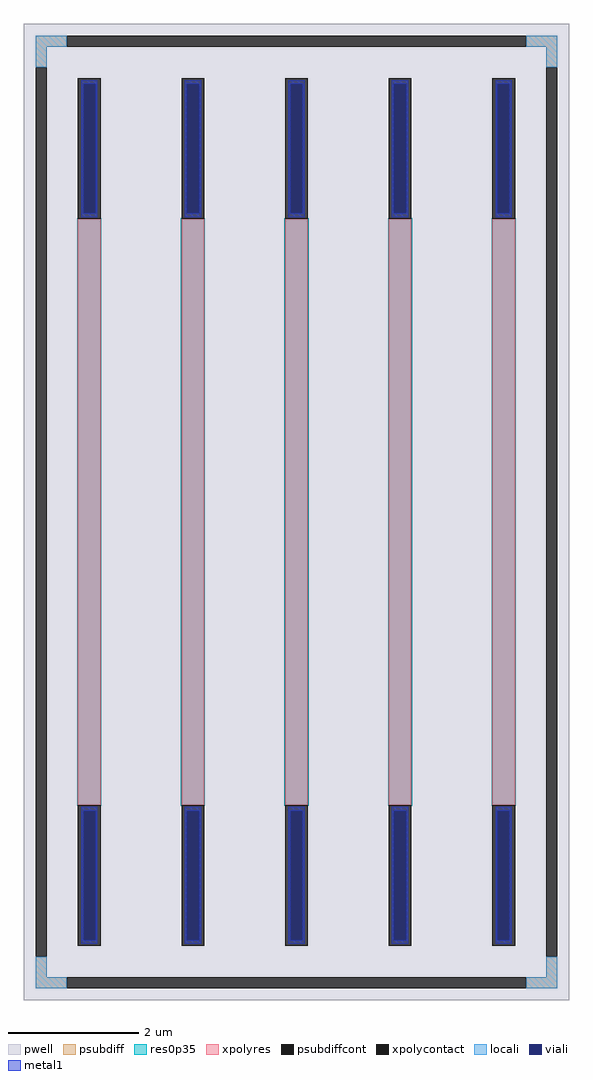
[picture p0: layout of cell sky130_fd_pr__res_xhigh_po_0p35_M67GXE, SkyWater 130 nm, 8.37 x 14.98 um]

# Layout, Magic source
magic
tech sky130B
magscale 1 2
<< pwell >>
rect -837 -1498 837 1498
<< psubdiff >>
rect -801 1428 -705 1462
rect 705 1428 801 1462
rect -801 1366 -767 1428
rect 767 1366 801 1428
rect -801 -1428 -767 -1366
rect 767 -1428 801 -1366
rect -801 -1462 -705 -1428
rect 705 -1462 801 -1428
<< psubdiffcont >>
rect -705 1428 705 1462
rect -801 -1366 -767 1366
rect 767 -1366 801 1366
rect -705 -1462 705 -1428
<< xpolycontact >>
rect -671 900 -601 1332
rect -671 -1332 -601 -900
rect -353 900 -283 1332
rect -353 -1332 -283 -900
rect -35 900 35 1332
rect -35 -1332 35 -900
rect 283 900 353 1332
rect 283 -1332 353 -900
rect 601 900 671 1332
rect 601 -1332 671 -900
<< xpolyres >>
rect -671 -900 -601 900
rect -353 -900 -283 900
rect -35 -900 35 900
rect 283 -900 353 900
rect 601 -900 671 900
<< locali >>
rect -801 1428 -705 1462
rect 705 1428 801 1462
rect -801 1366 -767 1428
rect 767 1366 801 1428
rect -801 -1428 -767 -1366
rect 767 -1428 801 -1366
rect -801 -1462 -705 -1428
rect 705 -1462 801 -1428
<< viali >>
rect -655 917 -617 1314
rect -337 917 -299 1314
rect -19 917 19 1314
rect 299 917 337 1314
rect 617 917 655 1314
rect -655 -1314 -617 -917
rect -337 -1314 -299 -917
rect -19 -1314 19 -917
rect 299 -1314 337 -917
rect 617 -1314 655 -917
<< metal1 >>
rect -661 1314 -611 1326
rect -661 917 -655 1314
rect -617 917 -611 1314
rect -661 905 -611 917
rect -343 1314 -293 1326
rect -343 917 -337 1314
rect -299 917 -293 1314
rect -343 905 -293 917
rect -25 1314 25 1326
rect -25 917 -19 1314
rect 19 917 25 1314
rect -25 905 25 917
rect 293 1314 343 1326
rect 293 917 299 1314
rect 337 917 343 1314
rect 293 905 343 917
rect 611 1314 661 1326
rect 611 917 617 1314
rect 655 917 661 1314
rect 611 905 661 917
rect -661 -917 -611 -905
rect -661 -1314 -655 -917
rect -617 -1314 -611 -917
rect -661 -1326 -611 -1314
rect -343 -917 -293 -905
rect -343 -1314 -337 -917
rect -299 -1314 -293 -917
rect -343 -1326 -293 -1314
rect -25 -917 25 -905
rect -25 -1314 -19 -917
rect 19 -1314 25 -917
rect -25 -1326 25 -1314
rect 293 -917 343 -905
rect 293 -1314 299 -917
rect 337 -1314 343 -917
rect 293 -1326 343 -1314
rect 611 -917 661 -905
rect 611 -1314 617 -917
rect 655 -1314 661 -917
rect 611 -1326 661 -1314
<< res0p35 >>
rect -673 -902 -599 902
rect -355 -902 -281 902
rect -37 -902 37 902
rect 281 -902 355 902
rect 599 -902 673 902
<< properties >>
string FIXED_BBOX -784 -1445 784 1445
string gencell sky130_fd_pr__res_xhigh_po_0p35
string library sky130
string parameters w 0.350 l 9 m 1 nx 5 wmin 0.350 lmin 0.50 rho 2000 val 52.504k dummy 0 dw 0.0 term 188.2 sterm 0.0 caplen 0 wmax 0.350 guard 1 glc 1 grc 1 gtc 1 gbc 1 compatible {sky130_fd_pr__res_xhigh_po_0p35  sky130_fd_pr__res_xhigh_po_0p69 sky130_fd_pr__res_xhigh_po_1p41  sky130_fd_pr__res_xhigh_po_2p85 sky130_fd_pr__res_xhigh_po_5p73} full_metal 1 n_guard 0 hv_guard 0 vias 1 viagb 0 viagt 0 viagl 0 viagr 0
<< end >>
